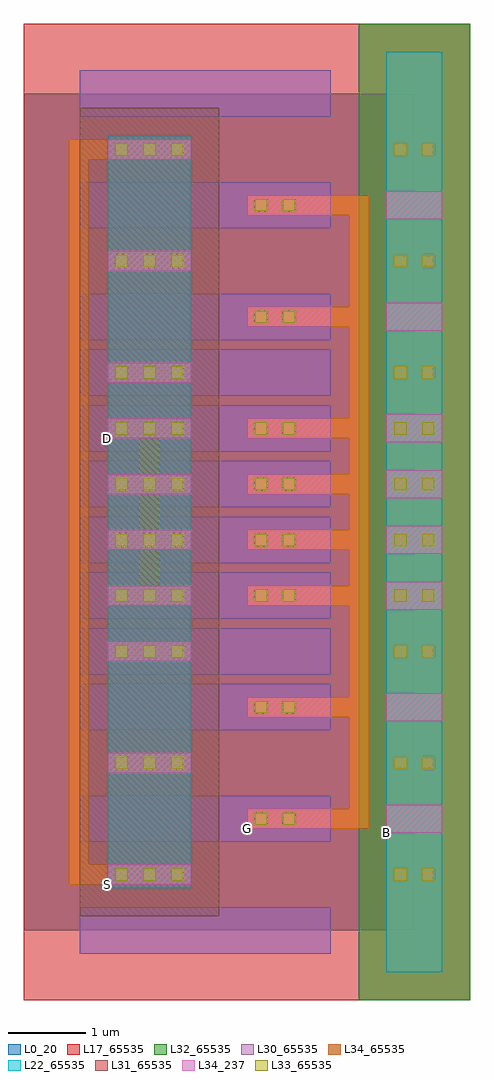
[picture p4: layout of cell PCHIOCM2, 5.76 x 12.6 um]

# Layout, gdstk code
import gdstk
lib = gdstk.Library(unit=1e-6, precision=1e-09)
def R(c, l, rs):  # rectangles x0, y0, x1, y1
    for r in rs: c.add(gdstk.rectangle(r[:2], r[2:], *l))
def A(c, l, x, y, w, h, nx, ny, dx, dy):  # array of equal rectangles
    R(c, l, [(x+i*dx, y+j*dy, x+i*dx+w, y+j*dy+h) for i in range(nx) for j in range(ny)])
L0_20 = (0, 20)
L17_65535 = (17, 65535)
L22_65535 = (22, 65535)
L30_65535 = (30, 65535)
L31_65535 = (31, 65535)
L32_65535 = (32, 65535)
L33_65535 = (33, 65535)
L34_237 = (34, 237)
L34_65535 = (34, 65535)

pchio = lib.new_cell('PCHIO')
R(pchio, L0_20, [(0,0,5.04,2.88)])
R(pchio, L17_65535, [(0,-0.9,5.76,3.78)])
A(pchio, L22_65535, 4.68, -0.54, 0.72, 0.36, 1, 11, 0, 0.36)
A(pchio, L22_65535, 1.08, 0.54, 1.08, 0.36, 1, 5, 0, 0.36)
A(pchio, L30_65535, 0.72, -0.3, 3.24, 0.6, 1, 3, 0, 1.44)
R(pchio, L31_65535, [(0.72,0.18,2.52,2.7)])
R(pchio, L32_65535, [(4.32,-0.9,5.76,3.78)])
A(pchio, L33_65535, 1.18, 0.64, 0.16, 0.16, 3, 2, 0.36, 1.44)
R(pchio, L33_65535, [(4.78,0.64,4.94,0.8), (5.14,0.64,5.3,0.8), (2.98,1.36,3.14,1.52), (3.34,1.36,3.5,1.52), (4.78,2.08,4.94,2.24), (5.14,2.08,5.3,2.24)])
R(pchio, L34_237, [(1.08,0.59,2.16,0.85), (4.68,1.26,5.4,1.62), (2.88,1.31,3.96,1.57), (1.08,2.03,2.16,2.29)])
A(pchio, L34_65535, 4.68, -0.54, 0.72, 0.36, 1, 11, 0, 0.36)
R(pchio, L34_65535, [(1.08,0.59,2.16,0.85), (2.88,1.31,3.96,1.57), (1.08,2.03,2.16,2.29)])
pchio.add(gdstk.Label('G', (2.88,1.31), layer=34, texttype=237))
pchio.add(gdstk.Label('S', (1.08,0.59), layer=34, texttype=237))
pchio.add(gdstk.Label('B', (4.68,1.26), layer=34, texttype=237))
pchio.add(gdstk.Label('D', (1.08,2.03), layer=34, texttype=237))

pchiocm = lib.new_cell('PCHIOCM')
R(pchiocm, L0_20, [(0,0,5.04,7.2)])
R(pchiocm, L34_237, [(1.08,0.59,2.16,0.85), (2.88,1.31,3.96,1.57), (1.08,6.35,2.16,6.61)])
A(pchiocm, L34_65535, 3.42, 1.31, 0.78, 0.26, 1, 4, 0, 1.44)
R(pchiocm, L34_65535, [(4.2,1.31,4.46,5.89)])
pchiocm.add(gdstk.Reference(pchio, (0,0)))
pchiocm.add(gdstk.Reference(pchio, (0,1.44)))
pchiocm.add(gdstk.Reference(pchio, (0,2.88)))
pchiocm.add(gdstk.Reference(pchio, (0,4.32)))
pchiocm.add(gdstk.Label('G', (2.88,1.31), layer=58, texttype=65535))
pchiocm.add(gdstk.Label('D', (1.08,6.35), layer=34, texttype=237))
pchiocm.add(gdstk.Label('G', (2.88,1.31), layer=34, texttype=237))
pchiocm.add(gdstk.Label('S', (1.08,0.59), layer=34, texttype=237))

pchiocm2 = lib.new_cell('PCHIOCM2')
R(pchiocm2, L0_20, [(0,0,5.04,10.8)])
R(pchiocm2, L34_237, [(1.08,0.59,2.16,0.85), (4.68,1.26,5.4,1.62), (2.88,1.31,3.96,1.57), (1.08,6.35,2.16,6.61)])
R(pchiocm2, L34_65535, [(0.58,0.59,1.62,0.85), (0.58,0.59,0.84,10.21), (3.42,1.31,4.2,1.57), (4.2,1.31,4.46,5.17), (1.49,4.19,1.75,6.61), (3.42,4.91,4.2,5.17), (0.58,9.95,1.62,10.21)])
pchiocm2.add(gdstk.Reference(pchiocm, (0,0)))
pchiocm2.add(gdstk.Reference(pchiocm, (0,3.6)))
pchiocm2.add(gdstk.Label('S', (1.08,0.59), layer=58, texttype=65535))
pchiocm2.add(gdstk.Label('G', (2.88,1.31), layer=58, texttype=65535))
pchiocm2.add(gdstk.Label('D', (1.08,6.35), layer=58, texttype=65535))
pchiocm2.add(gdstk.Label('B', (4.68,1.26), layer=34, texttype=237))
pchiocm2.add(gdstk.Label('D', (1.08,6.35), layer=34, texttype=237))
pchiocm2.add(gdstk.Label('G', (2.88,1.31), layer=34, texttype=237))
pchiocm2.add(gdstk.Label('S', (1.08,0.59), layer=34, texttype=237))

lib.write_gds('PCHIOCM2.gds')
